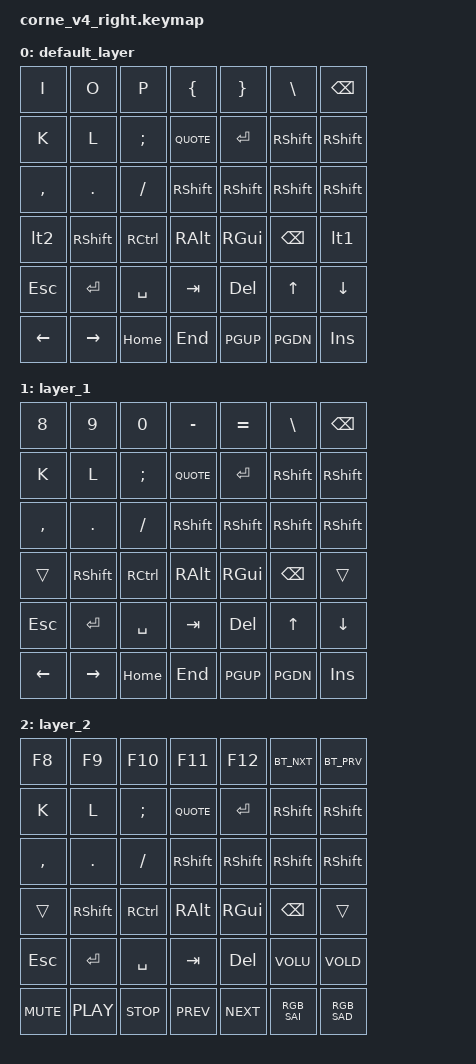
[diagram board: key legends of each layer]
/*
 * Copyright (c) 2024 The ZMK Contributors
 *
 * SPDX-License-Identifier: MIT
 */

#include <behaviors.dtsi>
#include <dt-bindings/zmk/keys.h>
#include <dt-bindings/zmk/bt.h>
#include <dt-bindings/zmk/rgb.h>
#include <dt-bindings/zmk/ext_power.h>

/ {
    behaviors {
        // Поведения для слоев
        lt1: layer_tap {
            quick-tap-ms = <150>;
            flavor = "balanced";
            tap-ms = <200>;
            bindings = <&mo 1>, <&kp SPACE>;
        };
        
        lt2: layer_tap {
            quick-tap-ms = <150>;
            flavor = "balanced";
            tap-ms = <200>;
            bindings = <&mo 2>, <&kp TAB>;
        };
    };

    keymap {
        compatible = "zmk,keymap";

        // Базовый слой (QWERTY) - правая часть
        default_layer {
            bindings = <
                // Row 0 - Top row
                &kp I         &kp O         &kp P         &kp LBRC      &kp RBRC      &kp BSLH      &kp BKSP
                // Row 1 - Home row
                &kp K         &kp L         &kp SEMI      &kp QUOTE     &kp ENTER     &kp RSHFT     &kp RSHFT
                // Row 2 - Bottom row
                &kp COMMA     &kp DOT       &kp FSLH      &kp RSHFT     &kp RSHFT     &kp RSHFT     &kp RSHFT
                // Row 3 - Thumb keys
                &lt2          &kp RSHFT     &kp RCTRL      &kp RALT      &kp RGUI      &kp BKSP      &lt1
                // Row 4 - Bottom thumb keys
                &kp ESC       &kp ENTER     &kp SPACE     &kp TAB       &kp DEL       &kp UP        &kp DOWN
                // Row 5 - Side keys
                &kp LEFT      &kp RIGHT     &kp HOME      &kp END       &kp PGUP      &kp PGDN      &kp INS
            >;
        };

        // Слой 1 - Numbers and Symbols
        layer_1 {
            bindings = <
                // Row 0
                &kp N8        &kp N9        &kp N0        &kp MINUS     &kp EQUAL     &kp BSLH      &kp BKSP
                // Row 1
                &kp K         &kp L         &kp SEMI      &kp QUOTE     &kp ENTER     &kp RSHFT     &kp RSHFT
                // Row 2
                &kp COMMA     &kp DOT       &kp FSLH      &kp RSHFT     &kp RSHFT     &kp RSHFT     &kp RSHFT
                // Row 3
                &trans        &kp RSHFT     &kp RCTRL      &kp RALT      &kp RGUI      &kp BKSP      &trans
                // Row 4
                &kp ESC       &kp ENTER     &kp SPACE     &kp TAB       &kp DEL       &kp UP        &kp DOWN
                // Row 5
                &kp LEFT      &kp RIGHT     &kp HOME      &kp END       &kp PGUP      &kp PGDN      &kp INS
            >;
        };

        // Слой 2 - Function Keys and Media
        layer_2 {
            bindings = <
                // Row 0
                &kp F8        &kp F9        &kp F10       &kp F11       &kp F12       &kp BT_NXT    &kp BT_PRV
                // Row 1
                &kp K         &kp L         &kp SEMI      &kp QUOTE     &kp ENTER     &kp RSHFT     &kp RSHFT
                // Row 2
                &kp COMMA     &kp DOT       &kp FSLH      &kp RSHFT     &kp RSHFT     &kp RSHFT     &kp RSHFT
                // Row 3
                &trans        &kp RSHFT     &kp RCTRL      &kp RALT      &kp RGUI      &kp BKSP      &trans
                // Row 4
                &kp ESC       &kp ENTER     &kp SPACE     &kp TAB       &kp DEL       &kp VOLU      &kp VOLD
                // Row 5
                &kp MUTE      &kp PLAY      &kp STOP      &kp PREV      &kp NEXT      &kp RGB_SAI   &kp RGB_SAD
            >;
        };
    };
};
